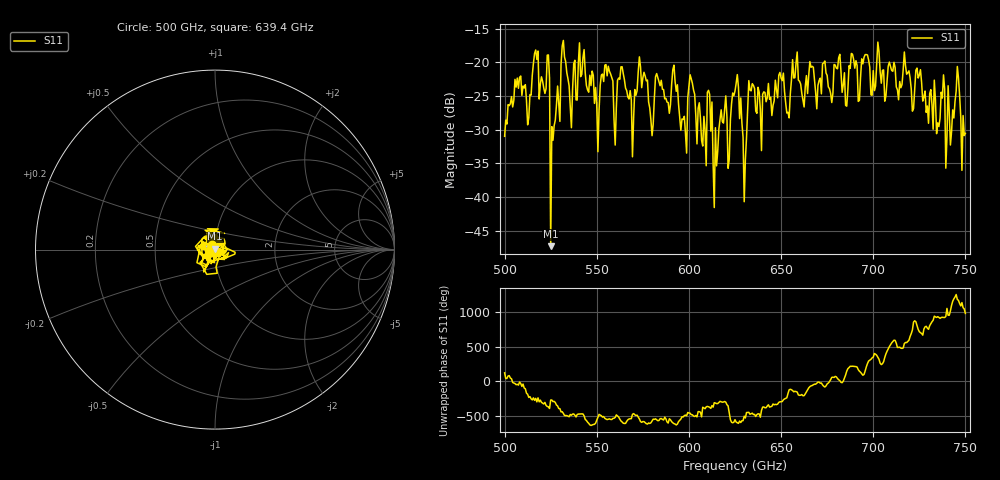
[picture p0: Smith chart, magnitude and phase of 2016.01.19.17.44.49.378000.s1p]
!Created with skrf (http://scikit-rf.org).
# GHz S RI R 50.0
!freq ReS11 ImS11
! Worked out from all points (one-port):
!   401 points, 500 GHz to 750 GHz, reference 50 ohm
!   lowest |S11| = -47.3 dB at 525 GHz (marker M1), VSWR 1.01, Z = 50 + j0.432 ohm
!   |S11| at or under -10 dB: start of sweep to end of sweep
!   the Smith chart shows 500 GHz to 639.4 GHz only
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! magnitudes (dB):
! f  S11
! 500 GHz  -31.0
! 506.9 GHz  -22.3
! 513.1 GHz  -28.2
! 516.9 GHz  -18.2
! 523.1 GHz  -18.9
! 525 GHz  -47.3
! 526.2 GHz  -31.6
! 531.2 GHz  -17.6
! 550 GHz  -26.4
! 562.5 GHz  -22.5
! 568.8 GHz  -25.6
! 573.8 GHz  -20.7
! 579.4 GHz  -28.5
! 593.8 GHz  -23.3
! 597.5 GHz  -28.0
! 601.9 GHz  -23.1
! 608.1 GHz  -28.0
! 611.2 GHz  -24.7
! 614.4 GHz  -29.7
! 625 GHz  -24.3
! 630 GHz  -40.7
! 633.8 GHz  -24.2
! 656.2 GHz  -19.6
! 687.5 GHz  -20.9
! 718.8 GHz  -21.6
! 740.6 GHz  -23.5
! 745.6 GHz  -20.6
! 750 GHz  -30.5
